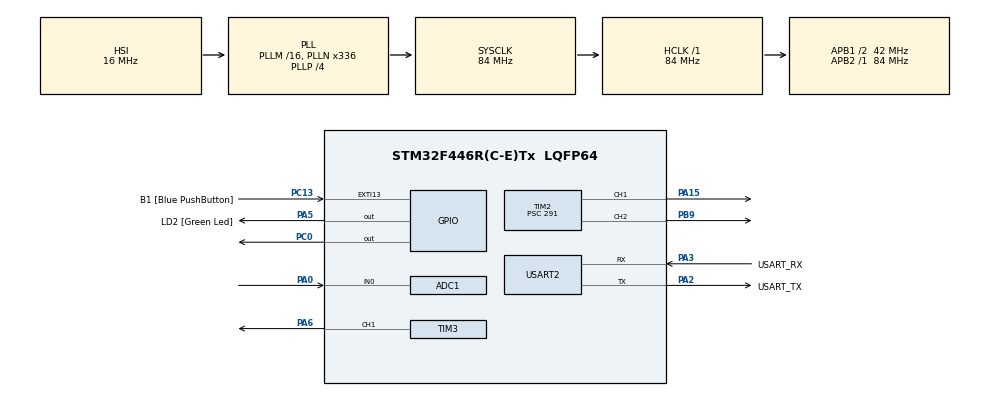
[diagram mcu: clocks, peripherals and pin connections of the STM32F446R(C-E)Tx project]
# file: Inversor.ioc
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ADC1.Channel-0\#ChannelRegularConversion=ADC_CHANNEL_0
ADC1.ExternalTrigConv=ADC_EXTERNALTRIGCONV_T3_TRGO
ADC1.NbrOfConversionFlag=1
ADC1.Rank-0\#ChannelRegularConversion=1
ADC1.SamplingTime-0\#ChannelRegularConversion=ADC_SAMPLETIME_3CYCLES
ADC1.master=1
Dma.ADC1.2.Direction=DMA_PERIPH_TO_MEMORY
Dma.ADC1.2.FIFOMode=DMA_FIFOMODE_DISABLE
Dma.ADC1.2.Instance=DMA2_Stream0
Dma.ADC1.2.MemDataAlignment=DMA_MDATAALIGN_HALFWORD
Dma.ADC1.2.MemInc=DMA_MINC_ENABLE
Dma.ADC1.2.Mode=DMA_NORMAL
Dma.ADC1.2.PeriphDataAlignment=DMA_PDATAALIGN_HALFWORD
Dma.ADC1.2.PeriphInc=DMA_PINC_DISABLE
Dma.ADC1.2.Priority=DMA_PRIORITY_LOW
Dma.Request0=TIM2_CH1
Dma.Request1=TIM2_CH2/CH4
Dma.Request2=ADC1
Dma.TIM2_CH1.0.Direction=DMA_MEMORY_TO_PERIPH
Dma.TIM2_CH1.0.FIFOMode=DMA_FIFOMODE_DISABLE
Dma.TIM2_CH1.0.Instance=DMA1_Stream5
Dma.TIM2_CH1.0.MemDataAlignment=DMA_MDATAALIGN_WORD
Dma.TIM2_CH1.0.MemInc=DMA_MINC_ENABLE
Dma.TIM2_CH1.0.Mode=DMA_CIRCULAR
Dma.TIM2_CH1.0.PeriphDataAlignment=DMA_PDATAALIGN_WORD
Dma.TIM2_CH1.0.PeriphInc=DMA_PINC_DISABLE
Dma.TIM2_CH1.0.Priority=DMA_PRIORITY_HIGH
Dma.TIM2_CH2/CH4.1.Direction=DMA_MEMORY_TO_PERIPH
Dma.TIM2_CH2/CH4.1.FIFOMode=DMA_FIFOMODE_DISABLE
Dma.TIM2_CH2/CH4.1.Instance=DMA1_Stream6
Dma.TIM2_CH2/CH4.1.MemDataAlignment=DMA_MDATAALIGN_WORD
Dma.TIM2_CH2/CH4.1.MemInc=DMA_MINC_ENABLE
Dma.TIM2_CH2/CH4.1.Mode=DMA_CIRCULAR
Dma.TIM2_CH2/CH4.1.PeriphDataAlignment=DMA_PDATAALIGN_WORD
Dma.TIM2_CH2/CH4.1.PeriphInc=DMA_PINC_DISABLE
Dma.TIM2_CH2/CH4.1.Priority=DMA_PRIORITY_HIGH
Mcu.Family=STM32F4
Mcu.Name=STM32F446R(C-E)Tx
Mcu.Package=LQFP64
NVIC.DMA1_Stream5_IRQn=true\:0\:0\:false\:false\:true\:false\:true\:true
NVIC.DMA1_Stream6_IRQn=true\:0\:0\:false\:false\:true\:false\:true\:true
NVIC.DMA2_Stream0_IRQn=true\:0\:0\:false\:false\:true\:false\:true\:true
NVIC.PriorityGroup=NVIC_PRIORITYGROUP_0
NVIC.USART2_IRQn=true\:0\:0\:false\:false\:true\:true\:true\:true
PA0-WKUP.Signal=ADCx_IN0
PA13.GPIO_Label=TMS
PA13.Signal=SYS_JTMS-SWDIO
PA14.GPIO_Label=TCK
PA14.Signal=SYS_JTCK-SWCLK
PA15.Signal=S_TIM2_CH1_ETR
PA2.GPIO_Label=USART_TX
PA2.Mode=Asynchronous
PA2.Signal=USART2_TX
PA3.GPIO_Label=USART_RX
PA3.Mode=Asynchronous
PA3.Signal=USART2_RX
PA5.GPIO_Label=LD2 [Green Led]
PA5.Signal=GPIO_Output
PA6.Signal=S_TIM3_CH1
PB3.GPIO_Label=SWO
PB3.Signal=SYS_JTDO-SWO
PB9.Signal=S_TIM2_CH2
PC0.Signal=GPIO_Output
PC13.GPIO_Label=B1 [Blue PushButton]
PC13.GPIO_ModeDefaultEXTI=GPIO_MODE_IT_FALLING
PC13.Signal=GPXTI13
PC14-OSC32_IN.Signal=RCC_OSC32_IN
PC15-OSC32_OUT.Signal=RCC_OSC32_OUT
PH0-OSC_IN.Signal=RCC_OSC_IN
PH1-OSC_OUT.Signal=RCC_OSC_OUT
ProjectManager.HeapSize=0x200
ProjectManager.StackSize=0x400
ProjectManager.TargetToolchain=STM32CubeIDE
RCC.AHBFreq_Value=84000000
RCC.APB1CLKDivider=RCC_HCLK_DIV2
RCC.APB1Freq_Value=42000000
RCC.APB1TimFreq_Value=84000000
RCC.APB2Freq_Value=84000000
RCC.APB2TimFreq_Value=84000000
RCC.CortexFreq_Value=84000000
RCC.FLatency-AdvancedSettings=FLASH_LATENCY_2
RCC.HCLKFreq_Value=84000000
RCC.HSE_VALUE=8000000
RCC.HSI_VALUE=16000000
RCC.LSE_VALUE=32768
RCC.PLLN=336
RCC.PLLP=RCC_PLLP_DIV4
RCC.SYSCLKFreq_VALUE=84000000
RCC.SYSCLKSource=RCC_SYSCLKSOURCE_PLLCLK
RCC.USBFreq_Value=168000000
RCC.VCOOutputFreq_Value=336000000
SH.ADCx_IN0.0=ADC1_IN0,IN0
SH.S_TIM2_CH1_ETR.0=TIM2_CH1,PWM Generation1 CH1
SH.S_TIM2_CH2.0=TIM2_CH2,PWM Generation2 CH2
SH.S_TIM3_CH1.0=TIM3_CH1,Output Compare1 CH1
TIM2.Channel-PWM\ Generation1\ CH1=TIM_CHANNEL_1
TIM2.Channel-PWM\ Generation2\ CH2=TIM_CHANNEL_2
TIM2.OCMode_PWM-PWM\ Generation2\ CH2=TIM_OCMODE_PWM1
TIM2.Period=99
TIM2.Prescaler=291
TIM2.TIM_MasterOutputTrigger=TIM_TRGO_RESET
TIM3.Channel-Output\ Compare1\ CH1=TIM_CHANNEL_1
TIM3.OCMode_1=TIM_OCMODE_TOGGLE
TIM3.Period=99
TIM3.Prescaler=8399
TIM3.Pulse-Output\ Compare1\ CH1=2
TIM3.TIM_MasterOutputTrigger=TIM_TRGO_UPDATE
USART2.VirtualMode=VM_ASYNC
VP_TIM2_VS_ClockSourceINT.Mode=Internal
VP_TIM3_VS_ClockSourceINT.Mode=Internal
board=NUCLEO-F446RE

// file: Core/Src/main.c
/* USER CODE BEGIN Header */
/**
  ******************************************************************************
  * @file           : main.c
  * @brief          : Main program body
  ******************************************************************************
  * @attention
  *
  * Copyright (c) 2024 STMicroelectronics.
  * All rights reserved.
  *
  * This software is licensed under terms that can be found in the LICENSE file
  * in the root directory of this software component.
  * If no LICENSE file comes with this software, it is provided AS-IS.
  *
  ******************************************************************************
  */
/* USER CODE END Header */
#include "main.h"

/* USER CODE BEGIN Includes */
#include "math.h"
#include "string.h"
/* USER CODE END Includes */

/* USER CODE BEGIN PTD */
#define N_AMOSTRAS 32
#define msgSIZE 100
#define TIMEOUT_SERIAL 100
#define TIM_INTERNO 84000000
/* USER CODE END PTD */

/* USER CODE BEGIN PD */
uint16_t medidas[N_AMOSTRAS];
uint8_t msg[msgSIZE];
uint8_t ValSerial = 'P';
uint16_t frequenciaMotor = 60;
/* USER CODE END PD */

ADC_HandleTypeDef hadc1;
DMA_HandleTypeDef hdma_adc1;

TIM_HandleTypeDef htim2;
TIM_HandleTypeDef htim3;
DMA_HandleTypeDef hdma_tim2_ch1;
DMA_HandleTypeDef hdma_tim2_ch2_ch4;

UART_HandleTypeDef huart2;

/* USER CODE BEGIN PV */
uint32_t pwmP[N_AMOSTRAS] = {0};
uint32_t pwmN[N_AMOSTRAS] = {0};
/* USER CODE END PV */

void SystemClock_Config(void);
static void MX_GPIO_Init(void);
static void MX_DMA_Init(void);
static void MX_TIM2_Init(void);
static void MX_TIM3_Init(void);
static void MX_ADC1_Init(void);
static void MX_USART2_UART_Init(void);

int main(void)
{

  /* USER CODE BEGIN 1 */

	for(int i = 0; i< N_AMOSTRAS/2;i++){
		pwmP[i] = (sin(3.1415 * i/(N_AMOSTRAS/2)))*90;
	}

	for(int i = N_AMOSTRAS/2; i < N_AMOSTRAS;i++){
		pwmN[i] = (-sin(3.1415 * i/(N_AMOSTRAS/2)))*90;
	}

  /* USER CODE END 1 */

  /* MCU Configuration--------------------------------------------------------*/

  /* Reset of all peripherals, Initializes the Flash interface and the Systick. */
  HAL_Init();

  /* Configure the system clock */
  SystemClock_Config();

  /* Initialize all configured peripherals */
  MX_GPIO_Init();
  MX_DMA_Init();
  MX_TIM2_Init();
  MX_TIM3_Init();
  MX_ADC1_Init();
  MX_USART2_UART_Init();
  /* USER CODE BEGIN 2 */

  // Para o ADC
  HAL_TIM_OC_Start(&htim3, TIM_CHANNEL_1);
  HAL_ADC_Start_DMA(&hadc1, &medidas[0], N_AMOSTRAS);

  strncpy(msg, "BEM VINDO(A) \n\r", msgSIZE);
  HAL_UART_Transmit(&huart2, msg, strlen(msg), TIMEOUT_SERIAL);
  HAL_UART_Receive_IT(&huart2, &ValSerial, 1);
  /* USER CODE END 2 */

  /* Infinite loop */
  while (1)
  {

  }
}

void SystemClock_Config(void)
{
  RCC_OscInitTypeDef RCC_OscInitStruct = {0};
  RCC_ClkInitTypeDef RCC_ClkInitStruct = {0};

  /** Configure the main internal regulator output voltage
  */
  __HAL_RCC_PWR_CLK_ENABLE();
  __HAL_PWR_VOLTAGESCALING_CONFIG(PWR_REGULATOR_VOLTAGE_SCALE3);

  /** Initializes the RCC Oscillators according to the specified parameters
  * in the RCC_OscInitTypeDef structure.
  */
  RCC_OscInitStruct.OscillatorType = RCC_OSCILLATORTYPE_HSI;
  RCC_OscInitStruct.HSIState = RCC_HSI_ON;
  RCC_OscInitStruct.HSICalibrationValue = RCC_HSICALIBRATION_DEFAULT;
  RCC_OscInitStruct.PLL.PLLState = RCC_PLL_ON;
  RCC_OscInitStruct.PLL.PLLSource = RCC_PLLSOURCE_HSI;
  RCC_OscInitStruct.PLL.PLLM = 16;
  RCC_OscInitStruct.PLL.PLLN = 336;
  RCC_OscInitStruct.PLL.PLLP = RCC_PLLP_DIV4;
  RCC_OscInitStruct.PLL.PLLQ = 2;
  RCC_OscInitStruct.PLL.PLLR = 2;
  if (HAL_RCC_OscConfig(&RCC_OscInitStruct) != HAL_OK)
  {
    Error_Handler();
  }

  /** Initializes the CPU, AHB and APB buses clocks
  */
  RCC_ClkInitStruct.ClockType = RCC_CLOCKTYPE_HCLK|RCC_CLOCKTYPE_SYSCLK
                              |RCC_CLOCKTYPE_PCLK1|RCC_CLOCKTYPE_PCLK2;
  RCC_ClkInitStruct.SYSCLKSource = RCC_SYSCLKSOURCE_PLLCLK;
  RCC_ClkInitStruct.AHBCLKDivider = RCC_SYSCLK_DIV1;
  RCC_ClkInitStruct.APB1CLKDivider = RCC_HCLK_DIV2;
  RCC_ClkInitStruct.APB2CLKDivider = RCC_HCLK_DIV1;

  if (HAL_RCC_ClockConfig(&RCC_ClkInitStruct, FLASH_LATENCY_2) != HAL_OK)
  {
    Error_Handler();
  }
}

static void MX_ADC1_Init(void)
{

  ADC_ChannelConfTypeDef sConfig = {0};

  /** Configure the global features of the ADC (Clock, Resolution, Data Alignment and number of conversion)
  */
  hadc1.Instance = ADC1;
  hadc1.Init.ClockPrescaler = ADC_CLOCK_SYNC_PCLK_DIV4;
  hadc1.Init.Resolution = ADC_RESOLUTION_12B;
  hadc1.Init.ScanConvMode = DISABLE;
  hadc1.Init.ContinuousConvMode = DISABLE;
  hadc1.Init.DiscontinuousConvMode = DISABLE;
  hadc1.Init.ExternalTrigConvEdge = ADC_EXTERNALTRIGCONVEDGE_RISING;
  hadc1.Init.ExternalTrigConv = ADC_EXTERNALTRIGCONV_T3_TRGO;
  hadc1.Init.DataAlign = ADC_DATAALIGN_RIGHT;
  hadc1.Init.NbrOfConversion = 1;
  hadc1.Init.DMAContinuousRequests = DISABLE;
  hadc1.Init.EOCSelection = ADC_EOC_SINGLE_CONV;
  if (HAL_ADC_Init(&hadc1) != HAL_OK)
  {
    Error_Handler();
  }

  /** Configure for the selected ADC regular channel its corresponding rank in the sequencer and its sample time.
  */
  sConfig.Channel = ADC_CHANNEL_0;
  sConfig.Rank = 1;
  sConfig.SamplingTime = ADC_SAMPLETIME_3CYCLES;
  if (HAL_ADC_ConfigChannel(&hadc1, &sConfig) != HAL_OK)
  {
    Error_Handler();
  }

}

static void MX_TIM2_Init(void)
{

  TIM_ClockConfigTypeDef sClockSourceConfig = {0};
  TIM_MasterConfigTypeDef sMasterConfig = {0};
  TIM_OC_InitTypeDef sConfigOC = {0};

  htim2.Instance = TIM2;
  htim2.Init.Prescaler = 291;
  htim2.Init.CounterMode = TIM_COUNTERMODE_UP;
  htim2.Init.Period = 99;
  htim2.Init.ClockDivision = TIM_CLOCKDIVISION_DIV1;
  htim2.Init.AutoReloadPreload = TIM_AUTORELOAD_PRELOAD_DISABLE;
  if (HAL_TIM_Base_Init(&htim2) != HAL_OK)
  {
    Error_Handler();
  }
  sClockSourceConfig.ClockSource = TIM_CLOCKSOURCE_INTERNAL;
  if (HAL_TIM_ConfigClockSource(&htim2, &sClockSourceConfig) != HAL_OK)
  {
    Error_Handler();
  }
  if (HAL_TIM_PWM_Init(&htim2) != HAL_OK)
  {
    Error_Handler();
  }
  sMasterConfig.MasterOutputTrigger = TIM_TRGO_RESET;
  sMasterConfig.MasterSlaveMode = TIM_MASTERSLAVEMODE_DISABLE;
  if (HAL_TIMEx_MasterConfigSynchronization(&htim2, &sMasterConfig) != HAL_OK)
  {
    Error_Handler();
  }
  sConfigOC.OCMode = TIM_OCMODE_PWM1;
  sConfigOC.Pulse = 0;
  sConfigOC.OCPolarity = TIM_OCPOLARITY_HIGH;
  sConfigOC.OCFastMode = TIM_OCFAST_DISABLE;
  if (HAL_TIM_PWM_ConfigChannel(&htim2, &sConfigOC, TIM_CHANNEL_1) != HAL_OK)
  {
    Error_Handler();
  }
  if (HAL_TIM_PWM_ConfigChannel(&htim2, &sConfigOC, TIM_CHANNEL_2) != HAL_OK)
  {
    Error_Handler();
  }
  HAL_TIM_MspPostInit(&htim2);

}

static void MX_TIM3_Init(void)
{

  TIM_ClockConfigTypeDef sClockSourceConfig = {0};
  TIM_MasterConfigTypeDef sMasterConfig = {0};
  TIM_OC_InitTypeDef sConfigOC = {0};

  htim3.Instance = TIM3;
  htim3.Init.Prescaler = 8399;
  htim3.Init.CounterMode = TIM_COUNTERMODE_UP;
  htim3.Init.Period = 99;
  htim3.Init.ClockDivision = TIM_CLOCKDIVISION_DIV1;
  htim3.Init.AutoReloadPreload = TIM_AUTORELOAD_PRELOAD_DISABLE;
  if (HAL_TIM_Base_Init(&htim3) != HAL_OK)
  {
    Error_Handler();
  }
  sClockSourceConfig.ClockSource = TIM_CLOCKSOURCE_INTERNAL;
  if (HAL_TIM_ConfigClockSource(&htim3, &sClockSourceConfig) != HAL_OK)
  {
    Error_Handler();
  }
  if (HAL_TIM_OC_Init(&htim3) != HAL_OK)
  {
    Error_Handler();
  }
  sMasterConfig.MasterOutputTrigger = TIM_TRGO_UPDATE;
  sMasterConfig.MasterSlaveMode = TIM_MASTERSLAVEMODE_DISABLE;
  if (HAL_TIMEx_MasterConfigSynchronization(&htim3, &sMasterConfig) != HAL_OK)
  {
    Error_Handler();
  }
  sConfigOC.OCMode = TIM_OCMODE_TOGGLE;
  sConfigOC.Pulse = 2;
  sConfigOC.OCPolarity = TIM_OCPOLARITY_HIGH;
  sConfigOC.OCFastMode = TIM_OCFAST_DISABLE;
  if (HAL_TIM_OC_ConfigChannel(&htim3, &sConfigOC, TIM_CHANNEL_1) != HAL_OK)
  {
    Error_Handler();
  }
  HAL_TIM_MspPostInit(&htim3);

}

static void MX_USART2_UART_Init(void)
{

  huart2.Instance = USART2;
  huart2.Init.BaudRate = 115200;
  huart2.Init.WordLength = UART_WORDLENGTH_8B;
  huart2.Init.StopBits = UART_STOPBITS_1;
  huart2.Init.Parity = UART_PARITY_NONE;
  huart2.Init.Mode = UART_MODE_TX_RX;
  huart2.Init.HwFlowCtl = UART_HWCONTROL_NONE;
  huart2.Init.OverSampling = UART_OVERSAMPLING_16;
  if (HAL_UART_Init(&huart2) != HAL_OK)
  {
    Error_Handler();
  }

}

static void MX_DMA_Init(void)
{

  /* DMA controller clock enable */
  __HAL_RCC_DMA1_CLK_ENABLE();
  __HAL_RCC_DMA2_CLK_ENABLE();

  /* DMA interrupt init */
  /* DMA1_Stream5_IRQn interrupt configuration */
  HAL_NVIC_SetPriority(DMA1_Stream5_IRQn, 0, 0);
  HAL_NVIC_EnableIRQ(DMA1_Stream5_IRQn);
  /* DMA1_Stream6_IRQn interrupt configuration */
  HAL_NVIC_SetPriority(DMA1_Stream6_IRQn, 0, 0);
  HAL_NVIC_EnableIRQ(DMA1_Stream6_IRQn);
  /* DMA2_Stream0_IRQn interrupt configuration */
  HAL_NVIC_SetPriority(DMA2_Stream0_IRQn, 0, 0);
  HAL_NVIC_EnableIRQ(DMA2_Stream0_IRQn);

}

static void MX_GPIO_Init(void)
{
  GPIO_InitTypeDef GPIO_InitStruct = {0};

  /* GPIO Ports Clock Enable */
  __HAL_RCC_GPIOC_CLK_ENABLE();
  __HAL_RCC_GPIOH_CLK_ENABLE();
  __HAL_RCC_GPIOA_CLK_ENABLE();
  __HAL_RCC_GPIOB_CLK_ENABLE();

  /*Configure GPIO pin Output Level */
  HAL_GPIO_WritePin(GPIOC, GPIO_PIN_0, GPIO_PIN_RESET);

  /*Configure GPIO pin Output Level */
  HAL_GPIO_WritePin(LD2_GPIO_Port, LD2_Pin, GPIO_PIN_RESET);

  /*Configure GPIO pin : B1_Pin */
  GPIO_InitStruct.Pin = B1_Pin;
  GPIO_InitStruct.Mode = GPIO_MODE_IT_FALLING;
  GPIO_InitStruct.Pull = GPIO_NOPULL;
  HAL_GPIO_Init(B1_GPIO_Port, &GPIO_InitStruct);

  /*Configure GPIO pin : PC0 */
  GPIO_InitStruct.Pin = GPIO_PIN_0;
  GPIO_InitStruct.Mode = GPIO_MODE_OUTPUT_PP;
  GPIO_InitStruct.Pull = GPIO_NOPULL;
  GPIO_InitStruct.Speed = GPIO_SPEED_FREQ_LOW;
  HAL_GPIO_Init(GPIOC, &GPIO_InitStruct);

  /*Configure GPIO pin : LD2_Pin */
  GPIO_InitStruct.Pin = LD2_Pin;
  GPIO_InitStruct.Mode = GPIO_MODE_OUTPUT_PP;
  GPIO_InitStruct.Pull = GPIO_NOPULL;
  GPIO_InitStruct.Speed = GPIO_SPEED_FREQ_LOW;
  HAL_GPIO_Init(LD2_GPIO_Port, &GPIO_InitStruct);

}

/* USER CODE BEGIN 4 */

void HAL_ADC_ConvCpltCallback(ADC_HandleTypeDef* hadc){
	uint16_t hz = frequenciaMotor * N_AMOSTRAS;

	uint16_t PSC = (TIM_INTERNO/(hz*100))-1;
	__HAL_TIM_SET_PRESCALER(&htim2, PSC);

	// Filtro ADC e compação
	double resultado = 0;

	for(int u = 0; u < N_AMOSTRAS; u++){
		resultado += medidas[u]*1.0;
	}

	resultado = resultado/N_AMOSTRAS;

	if(resultado > 3400.00){// Ativa o relé
		HAL_GPIO_WritePin(GPIOC, GPIO_PIN_0, SET);
	}else{
		HAL_GPIO_WritePin(GPIOC, GPIO_PIN_0, RESET);
	}

	HAL_ADC_Start_DMA(&hadc1, &medidas[0], N_AMOSTRAS);
}

void HAL_UART_RxCpltCallback(UART_HandleTypeDef *huart)
{
	switch(ValSerial){
	case 'S':
		 frequenciaMotor = 50;
		 HAL_TIM_PWM_Start_DMA(&htim2, TIM_CHANNEL_1, &pwmP[0], N_AMOSTRAS);
		 HAL_TIM_PWM_Start_DMA(&htim2, TIM_CHANNEL_2, &pwmN[0], N_AMOSTRAS);
		break;
	case 'P':
		HAL_TIM_PWM_Stop_DMA(&htim2, TIM_CHANNEL_1);
		HAL_TIM_PWM_Stop_DMA(&htim2, TIM_CHANNEL_2);

		break;
	}
	HAL_UART_Receive_IT(&huart2, &ValSerial,1);
}
/* USER CODE END 4 */

void Error_Handler(void)
{
  __disable_irq();
  while (1)
  {
  }
}
